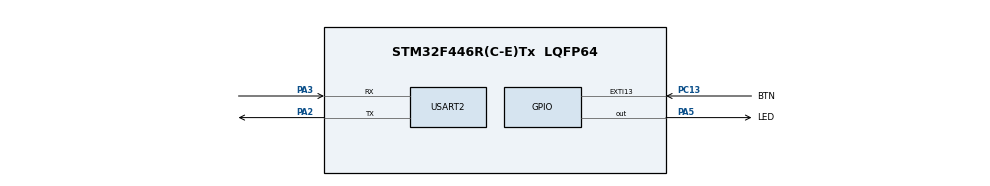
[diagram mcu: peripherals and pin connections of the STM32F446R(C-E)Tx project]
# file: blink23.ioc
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Mcu.Family=STM32F4
Mcu.Name=STM32F446R(C-E)Tx
Mcu.Package=LQFP64
NVIC.EXTI15_10_IRQn=true\:0\:0\:false\:false\:true\:true\:true\:true
NVIC.PriorityGroup=NVIC_PRIORITYGROUP_4
NVIC.TIM4_IRQn=true\:0\:0\:false\:false\:true\:true\:true\:true
PA13.Mode=Serial_Wire
PA13.Signal=SYS_JTMS-SWDIO
PA14.Mode=Serial_Wire
PA14.Signal=SYS_JTCK-SWCLK
PA2.Mode=Asynchronous
PA2.Signal=USART2_TX
PA3.Mode=Asynchronous
PA3.Signal=USART2_RX
PA5.GPIO_Label=LED
PA5.PinState=GPIO_PIN_SET
PA5.Signal=GPIO_Output
PC13.GPIO_Label=BTN
PC13.GPIO_PuPd=GPIO_PULLUP
PC13.Signal=GPXTI13
PH0-OSC_IN.Mode=HSE-External-Oscillator
PH0-OSC_IN.Signal=RCC_OSC_IN
PH1-OSC_OUT.Mode=HSE-External-Oscillator
PH1-OSC_OUT.Signal=RCC_OSC_OUT
ProjectManager.HeapSize=0x200
ProjectManager.StackSize=0x400
ProjectManager.TargetToolchain=STM32CubeIDE
RCC.CortexFreq_Value=16000000
RCC.USBFreq_Value=96000000
RCC.VCOOutputFreq_Value=192000000
TIM4.Period=4999
TIM4.Prescaler=9999
USART2.VirtualMode=VM_ASYNC
VP_TIM4_VS_ClockSourceINT.Mode=Internal
board=custom

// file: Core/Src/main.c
/* USER CODE BEGIN Header */
/**
  ******************************************************************************
  * @file           : main.c
  * @brief          : Main program body
  ******************************************************************************
  * @attention
  *
  * Copyright (c) 2025 STMicroelectronics.
  * All rights reserved.
  *
  * This software is licensed under terms that can be found in the LICENSE file
  * in the root directory of this software component.
  * If no LICENSE file comes with this software, it is provided AS-IS.
  *
  ******************************************************************************
  */
/* USER CODE END Header */
#include "main.h"

/* USER CODE BEGIN Includes */
#include <stdio.h>

/* USER CODE END Includes */

TIM_HandleTypeDef htim4;

UART_HandleTypeDef huart2;

/* USER CODE BEGIN PV */
volatile uint8_t btn_press = 0;

/* USER CODE END PV */

void SystemClock_Config(void);
static void MX_GPIO_Init(void);
static void MX_USART2_UART_Init(void);
static void MX_TIM4_Init(void);

/* USER CODE BEGIN 0 */

// Redirect printf output to UART1
int _write(int fd, char *ptr, int len) {
    HAL_StatusTypeDef hstatus;

    if (fd == 1 || fd == 2) {
        hstatus = HAL_UART_Transmit(&huart2, (uint8_t *) ptr, len, HAL_MAX_DELAY);
        if (hstatus == HAL_OK) {
            return len;
        } else {
            return -1;
        }
    }
    return -1;
}

void HAL_TIM_PeriodElapsedCallback(TIM_HandleTypeDef *htim){
	if(htim->Instance == TIM4){
		HAL_GPIO_TogglePin(LED_GPIO_Port, LED_Pin);
	}
}

void HAL_GPIO_EXTI_Callback(uint16_t GPIO_Pin){
	if(GPIO_Pin == BTN_Pin){
		btn_press = 1;
	}
}

/* USER CODE END 0 */

int main(void)
{

  /* MCU Configuration--------------------------------------------------------*/

  /* Reset of all peripherals, Initializes the Flash interface and the Systick. */
  HAL_Init();

  /* Configure the system clock */
  SystemClock_Config();

  /* Initialize all configured peripherals */
  MX_GPIO_Init();
  MX_USART2_UART_Init();
  MX_TIM4_Init();
  /* USER CODE BEGIN 2 */

  HAL_TIM_Base_Start_IT(&htim4);

  printf("blink going to happen");

  /* USER CODE END 2 */

  /* Infinite loop */
  /* USER CODE BEGIN WHILE */

  uint32_t now = 0, last_blink = 0;
  int tickCounter = 0;

  while (1)
  {
//	  now = HAL_GetTick();
//
//	  if(now - last_blink >= 500){
//		  printf("toggling GPIO for the %d time\n", tickCounter);
//		  HAL_GPIO_TogglePin(LED_GPIO_Port, LED_Pin);
//		  tickCounter++;
//		  last_blink = now;
//	  }
//
//	  if(btn_press == 1){
//		  printf("Button presses\n");
//		  btn_press = 0;
//	  }

    /* USER CODE END WHILE */

  }
}

void SystemClock_Config(void)
{
  RCC_OscInitTypeDef RCC_OscInitStruct = {0};
  RCC_ClkInitTypeDef RCC_ClkInitStruct = {0};

  /** Configure the main internal regulator output voltage
  */
  __HAL_RCC_PWR_CLK_ENABLE();
  __HAL_PWR_VOLTAGESCALING_CONFIG(PWR_REGULATOR_VOLTAGE_SCALE3);

  /** Initializes the RCC Oscillators according to the specified parameters
  * in the RCC_OscInitTypeDef structure.
  */
  RCC_OscInitStruct.OscillatorType = RCC_OSCILLATORTYPE_HSI;
  RCC_OscInitStruct.HSIState = RCC_HSI_ON;
  RCC_OscInitStruct.HSICalibrationValue = RCC_HSICALIBRATION_DEFAULT;
  RCC_OscInitStruct.PLL.PLLState = RCC_PLL_NONE;
  if (HAL_RCC_OscConfig(&RCC_OscInitStruct) != HAL_OK)
  {
    Error_Handler();
  }

  /** Initializes the CPU, AHB and APB buses clocks
  */
  RCC_ClkInitStruct.ClockType = RCC_CLOCKTYPE_HCLK|RCC_CLOCKTYPE_SYSCLK
                              |RCC_CLOCKTYPE_PCLK1|RCC_CLOCKTYPE_PCLK2;
  RCC_ClkInitStruct.SYSCLKSource = RCC_SYSCLKSOURCE_HSI;
  RCC_ClkInitStruct.AHBCLKDivider = RCC_SYSCLK_DIV1;
  RCC_ClkInitStruct.APB1CLKDivider = RCC_HCLK_DIV1;
  RCC_ClkInitStruct.APB2CLKDivider = RCC_HCLK_DIV1;

  if (HAL_RCC_ClockConfig(&RCC_ClkInitStruct, FLASH_LATENCY_0) != HAL_OK)
  {
    Error_Handler();
  }
}

static void MX_TIM4_Init(void)
{

  TIM_ClockConfigTypeDef sClockSourceConfig = {0};
  TIM_MasterConfigTypeDef sMasterConfig = {0};

  htim4.Instance = TIM4;
  htim4.Init.Prescaler = 9999;
  htim4.Init.CounterMode = TIM_COUNTERMODE_UP;
  htim4.Init.Period = 4999;
  htim4.Init.ClockDivision = TIM_CLOCKDIVISION_DIV1;
  htim4.Init.AutoReloadPreload = TIM_AUTORELOAD_PRELOAD_DISABLE;
  if (HAL_TIM_Base_Init(&htim4) != HAL_OK)
  {
    Error_Handler();
  }
  sClockSourceConfig.ClockSource = TIM_CLOCKSOURCE_INTERNAL;
  if (HAL_TIM_ConfigClockSource(&htim4, &sClockSourceConfig) != HAL_OK)
  {
    Error_Handler();
  }
  sMasterConfig.MasterOutputTrigger = TIM_TRGO_RESET;
  sMasterConfig.MasterSlaveMode = TIM_MASTERSLAVEMODE_DISABLE;
  if (HAL_TIMEx_MasterConfigSynchronization(&htim4, &sMasterConfig) != HAL_OK)
  {
    Error_Handler();
  }

}

static void MX_USART2_UART_Init(void)
{

  huart2.Instance = USART2;
  huart2.Init.BaudRate = 115200;
  huart2.Init.WordLength = UART_WORDLENGTH_8B;
  huart2.Init.StopBits = UART_STOPBITS_1;
  huart2.Init.Parity = UART_PARITY_NONE;
  huart2.Init.Mode = UART_MODE_TX_RX;
  huart2.Init.HwFlowCtl = UART_HWCONTROL_NONE;
  huart2.Init.OverSampling = UART_OVERSAMPLING_16;
  if (HAL_UART_Init(&huart2) != HAL_OK)
  {
    Error_Handler();
  }

}

static void MX_GPIO_Init(void)
{
  GPIO_InitTypeDef GPIO_InitStruct = {0};

  /* GPIO Ports Clock Enable */
  __HAL_RCC_GPIOC_CLK_ENABLE();
  __HAL_RCC_GPIOH_CLK_ENABLE();
  __HAL_RCC_GPIOA_CLK_ENABLE();

  /*Configure GPIO pin Output Level */
  HAL_GPIO_WritePin(LED_GPIO_Port, LED_Pin, GPIO_PIN_SET);

  /*Configure GPIO pin : BTN_Pin */
  GPIO_InitStruct.Pin = BTN_Pin;
  GPIO_InitStruct.Mode = GPIO_MODE_IT_RISING;
  GPIO_InitStruct.Pull = GPIO_PULLUP;
  HAL_GPIO_Init(BTN_GPIO_Port, &GPIO_InitStruct);

  /*Configure GPIO pin : LED_Pin */
  GPIO_InitStruct.Pin = LED_Pin;
  GPIO_InitStruct.Mode = GPIO_MODE_OUTPUT_PP;
  GPIO_InitStruct.Pull = GPIO_NOPULL;
  GPIO_InitStruct.Speed = GPIO_SPEED_FREQ_LOW;
  HAL_GPIO_Init(LED_GPIO_Port, &GPIO_InitStruct);

  /* EXTI interrupt init*/
  HAL_NVIC_SetPriority(EXTI15_10_IRQn, 0, 0);
  HAL_NVIC_EnableIRQ(EXTI15_10_IRQn);

}

void Error_Handler(void)
{
  __disable_irq();
  while (1)
  {
  }
}
